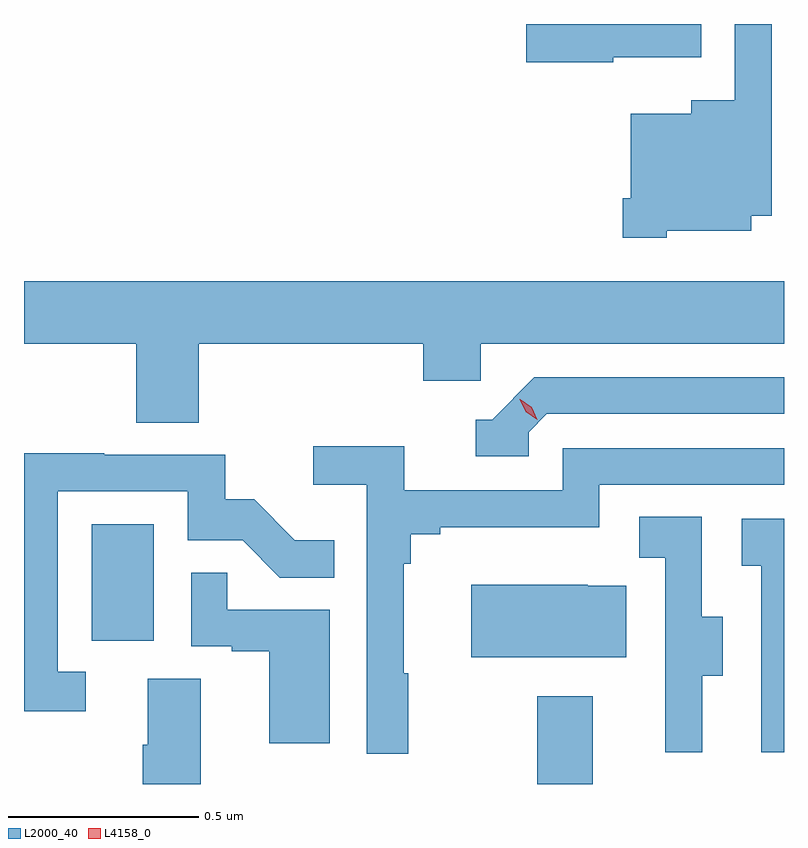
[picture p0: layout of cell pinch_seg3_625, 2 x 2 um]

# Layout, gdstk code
import gdstk
lib = gdstk.Library(unit=1e-6, precision=1e-09)
def R(c, l, rs):  # rectangles x0, y0, x1, y1
    for r in rs: c.add(gdstk.rectangle(r[:2], r[2:], *l))
def P(c, l, *ps):  # polygons
    for p in ps: c.add(gdstk.Polygon(p, *l))
L2000_40 = (2000, 40)
L4158_0 = (4158, 0)

pinch_seg3_625 = lib.new_cell('pinch_seg3_625')
R(pinch_seg3_625, L2000_40, [(1022.968,699.757,1023.115,699.988), (1021.796,700.134,1021.96,700.441)])
P(pinch_seg3_625, L2000_40, [(1023.168,701.669),(1023.4,701.669),(1023.4,701.757),(1022.94,701.757),(1022.94,701.657),(1023.168,701.657)],
  [(1023.309,701.213),(1023.532,701.213),(1023.532,701.252),(1023.586,701.252),(1023.586,701.757),(1023.489,701.757),(1023.489,701.557),(1023.374,701.557),(1023.374,701.521),(1023.215,701.521),(1023.215,701.299),(1023.194,701.299),(1023.194,701.195),(1023.309,701.195)],
  [(1022.078,700.916),(1022.669,700.916),(1022.669,700.818),(1022.82,700.818),(1022.82,700.916),(1023.618,700.916),(1023.618,701.08),(1021.618,701.08),(1021.618,700.916),(1021.913,700.916),(1021.913,700.708),(1022.078,700.708)],
  [(1022.946,700.683),(1022.994,700.731),(1023.618,700.731),(1023.618,700.827),(1022.961,700.827),(1022.85,700.716),(1022.807,700.716),(1022.807,700.62),(1022.946,700.62)],
  [(1022.629,700.049),(1022.617,700.049),(1022.617,700.337),(1022.636,700.337),(1022.636,700.414),(1022.713,700.414),(1022.713,700.433),(1023.132,700.433),(1023.132,700.545),(1023.618,700.545),(1023.618,700.641),(1023.036,700.641),(1023.036,700.53),(1022.618,700.53),(1022.618,700.646),(1022.379,700.646),(1022.379,700.544),(1022.52,700.544),(1022.52,699.837),(1022.629,699.837)],
  [(1021.78,700.053),(1021.707,700.053),(1021.707,700.527),(1022.049,700.527),(1022.049,700.398),(1022.193,700.398),(1022.291,700.3),(1022.435,700.3),(1022.435,700.399),(1022.331,700.399),(1022.224,700.506),(1022.148,700.506),(1022.148,700.623),(1021.829,700.623),(1021.829,700.628),(1021.618,700.628),(1021.618,699.948),(1021.78,699.948)],
  [(1023.403,700.042),(1023.457,700.042),(1023.457,700.197),(1023.402,700.197),(1023.402,700.46),(1023.237,700.46),(1023.237,700.353),(1023.306,700.353),(1023.306,700.053),(1023.305,700.053),(1023.305,699.84),(1023.403,699.84)],
  [(1023.618,700.455),(1023.507,700.455),(1023.507,700.331),(1023.558,700.331),(1023.558,699.84),(1023.618,699.84)],
  [(1022.422,700.215),(1022.153,700.215),(1022.153,700.313),(1022.058,700.313),(1022.058,700.119),(1022.165,700.119),(1022.165,700.107),(1022.264,700.107),(1022.264,699.864),(1022.422,699.864)],
  [(1023.203,700.279),(1023.101,700.279),(1023.101,700.282),(1022.795,700.282),(1022.795,700.091),(1023.203,700.091)],
  [(1022.083,700.034),(1021.943,700.034),(1021.943,699.86),(1021.931,699.86),(1021.931,699.757),(1022.083,699.757)])
P(pinch_seg3_625, L4158_0, [(1022.969,700.716),(1022.939,700.736),(1022.923,700.77),(1022.923,700.77),(1022.924,700.77),(1022.954,700.749),(1022.969,700.716),(1022.969,700.716)])

lib.write_gds('pinch_seg3_625.gds')
